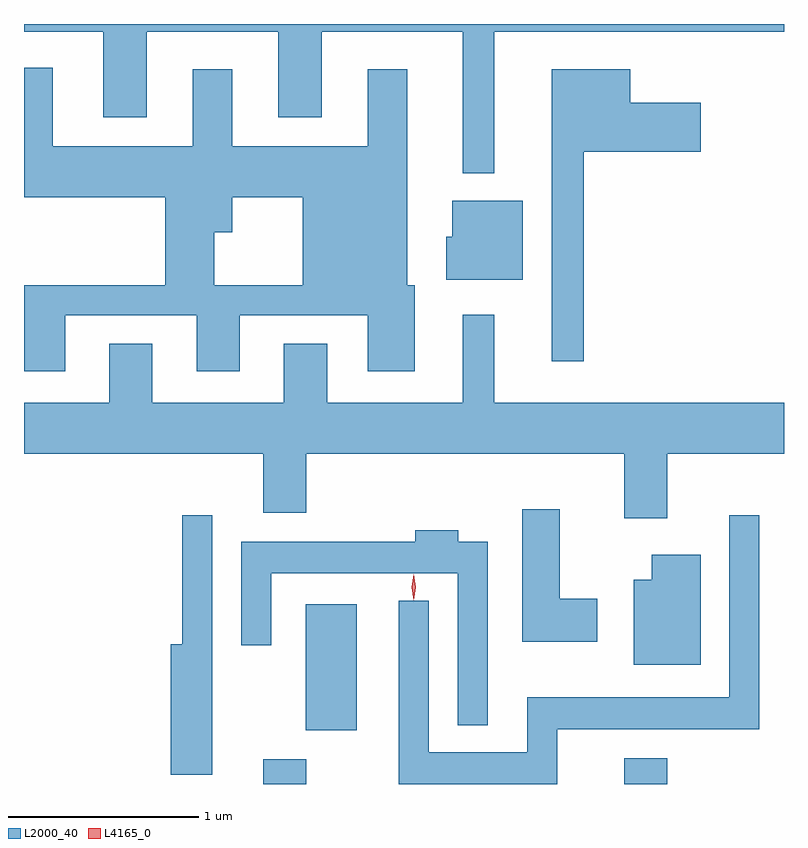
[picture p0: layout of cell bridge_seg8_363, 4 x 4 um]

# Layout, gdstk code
import gdstk
lib = gdstk.Library(unit=1e-6, precision=1e-09)
def R(c, l, rs):  # rectangles x0, y0, x1, y1
    for r in rs: c.add(gdstk.rectangle(r[:2], r[2:], *l))
def P(c, l, *ps):  # polygons
    for p in ps: c.add(gdstk.Polygon(p, *l))
L2000_40 = (2000, 40)
L4165_0 = (4165, 0)

bridge_seg8_363 = lib.new_cell('bridge_seg8_363')
R(bridge_seg8_363, L2000_40, [(723.421,1927.918,723.649,1928.049), (725.321,1927.918,725.549,1928.054), (723.646,1928.201,723.914,1928.864)])
P(bridge_seg8_363, L2000_40, [(724.639,1931.876),(726.163,1931.876),(726.163,1931.918),(722.163,1931.918),(722.163,1931.876),(722.581,1931.876),(722.581,1931.426),(722.809,1931.426),(722.809,1931.876),(723.501,1931.876),(723.501,1931.426),(723.729,1931.426),(723.729,1931.876),(724.471,1931.876),(724.471,1931.133),(724.639,1931.133)],
  [(722.379,1930.386),(723.071,1930.386),(723.071,1930.091),(723.299,1930.091),(723.299,1930.386),(723.971,1930.386),(723.971,1930.091),(724.219,1930.091),(724.219,1930.544),(724.179,1930.544),(724.179,1931.679),(723.971,1931.679),(723.971,1931.274),(723.259,1931.274),(723.259,1931.679),(723.051,1931.679),(723.051,1931.274),(722.314,1931.274),(722.314,1931.688),(722.163,1931.688),(722.163,1931.006),(722.906,1931.006),(722.906,1930.544),(723.164,1930.544),(723.164,1930.821),(723.259,1930.821),(723.259,1931.006),(723.631,1931.006),(723.631,1930.544),(723.164,1930.544),(722.906,1930.544),(722.163,1930.544),(722.163,1930.091),(722.379,1930.091)],
  [(725.109,1931.246),(725.724,1931.246),(725.724,1931.504),(725.354,1931.504),(725.354,1931.679),(724.941,1931.679),(724.941,1930.143),(725.109,1930.143)],
  [(724.789,1930.989),(724.416,1930.989),(724.416,1930.799),(724.386,1930.799),(724.386,1930.571),(724.789,1930.571)],
  [(725.549,1929.656),(726.163,1929.656),(726.163,1929.924),(724.639,1929.924),(724.639,1930.388),(724.471,1930.388),(724.471,1929.924),(723.759,1929.924),(723.759,1930.234),(723.531,1930.234),(723.531,1929.924),(722.839,1929.924),(722.839,1930.234),(722.611,1930.234),(722.611,1929.924),(722.163,1929.924),(722.163,1929.656),(723.421,1929.656),(723.421,1929.346),(723.649,1929.346),(723.649,1929.656),(725.321,1929.656),(725.321,1929.316),(725.549,1929.316)],
  [(725.179,1928.894),(724.984,1928.894),(724.984,1929.364),(724.786,1929.364),(724.786,1928.666),(725.179,1928.666)],
  [(724.969,1928.206),(726.034,1928.206),(726.034,1929.333),(725.876,1929.333),(725.876,1928.374),(724.811,1928.374),(724.811,1928.084),(724.294,1928.084),(724.294,1928.883),(724.136,1928.883),(724.136,1927.918),(724.969,1927.918)],
  [(723.154,1929.333),(722.996,1929.333),(722.996,1928.654),(722.936,1928.654),(722.936,1927.966),(723.154,1927.966)],
  [(724.604,1929.194),(724.449,1929.194),(724.449,1929.254),(724.221,1929.254),(724.221,1929.194),(723.306,1929.194),(723.306,1928.648),(723.464,1928.648),(723.464,1929.026),(724.446,1929.026),(724.446,1928.228),(724.604,1928.228)],
  [(725.724,1929.124),(725.466,1929.124),(725.466,1928.994),(725.371,1928.994),(725.371,1928.546),(725.724,1928.546)])
P(bridge_seg8_363, L4165_0, [(724.214,1928.884),(724.214,1928.884),(724.204,1928.953),(724.214,1929.022),(724.214,1929.023),(724.215,1929.022),(724.224,1928.953),(724.215,1928.884)],
  [(724.214,1928.887),(724.205,1928.954),(724.214,1929.02),(724.215,1929.02),(724.215,1929.02),(724.225,1928.954),(724.215,1928.887),(724.215,1928.887)])

lib.write_gds('bridge_seg8_363.gds')
